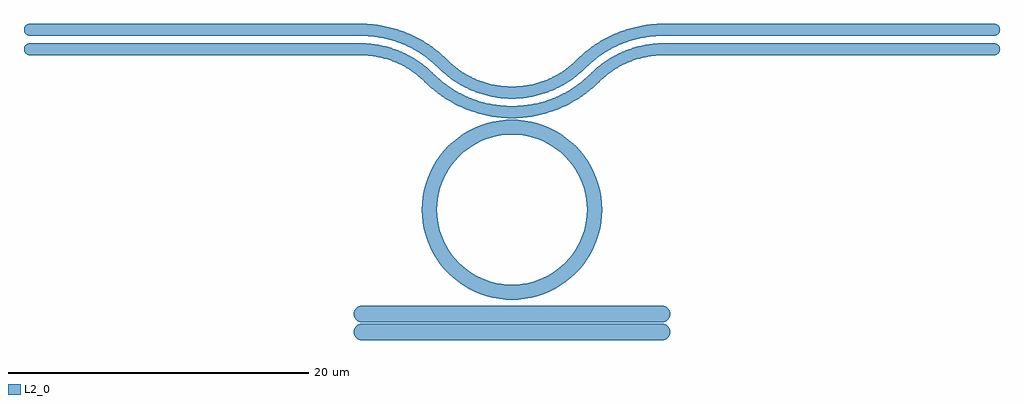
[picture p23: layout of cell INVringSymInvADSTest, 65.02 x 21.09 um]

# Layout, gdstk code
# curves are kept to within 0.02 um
import gdstk
lib = gdstk.Library(unit=1e-6, precision=1e-09)
def P(c, l, *ps):  # polygons
    for p in ps: c.add(gdstk.Polygon(p, *l))
L2_0 = (2, 0)

invringsyminvadstest = lib.new_cell('INVringSymInvADSTest')
P(invringsyminvadstest, L2_0, [(10,-26),(9.146,-25.939),(8.31,-25.757),(7.508,-25.458),(6.688,-25),(10.357,-24.987),(11.063,-24.886),(11.409,-24.797),(12.077,-24.548),(12.703,-24.206),(12.996,-24.003),(13.536,-23.536),(14.003,-22.996),(14.206,-22.703),(14.548,-22.077),(14.797,-21.409),(14.949,-20.712),(15,-20),(14.987,-19.643),(14.886,-18.937),(14.685,-18.253),(14.548,-17.923),(14.206,-17.297),(14.003,-17.004),(13.536,-16.464),(12.996,-15.997),(12.703,-15.794),(12.077,-15.452),(11.409,-15.203),(10.712,-15.051),(10,-15),(9.288,-15.051),(8.937,-15.114),(8.253,-15.315),(7.923,-15.452),(7.297,-15.794),(6.726,-16.221),(6.464,-16.464),(5.997,-17.004),(5.612,-17.604),(5.315,-18.253),(5.114,-18.937),(5.051,-19.288),(5,-20),(5.051,-20.712),(5.114,-21.063),(5.315,-21.747),(5.612,-22.396),(5.997,-22.996),(6.464,-23.536),(6.726,-23.779),(7.297,-24.206),(7.923,-24.548),(8.253,-24.685),(8.937,-24.886),(9.288,-24.949),(10,-25),(6.688,-25),(6.071,-24.534),(5.757,-24.243),(5.197,-23.596),(4.952,-23.244),(4.542,-22.492),(4.378,-22.097),(4.137,-21.275),(4.015,-20.428),(4,-20),(4.061,-19.146),(4.137,-18.725),(4.378,-17.903),(4.542,-17.508),(4.952,-16.756),(5.197,-16.404),(5.757,-15.757),(6.404,-15.197),(6.756,-14.952),(7.508,-14.542),(7.903,-14.378),(8.725,-14.137),(9.146,-14.061),(10,-14),(10.854,-14.061),(11.275,-14.137),(12.097,-14.378),(12.492,-14.542),(13.244,-14.952),(13.596,-15.197),(14.243,-15.757),(14.803,-16.404),(15.048,-16.756),(15.458,-17.508),(15.622,-17.903),(15.863,-18.725),(15.939,-19.146),(16,-20),(15.939,-20.854),(15.863,-21.275),(15.622,-22.097),(15.458,-22.492),(15.048,-23.244),(14.803,-23.596),(14.243,-24.243),(13.596,-24.803),(13.244,-25.048),(12.492,-25.458),(12.097,-25.622),(11.275,-25.863),(10.854,-25.939)],
  [(10,-13.9),(9.123,-13.853),(8.257,-13.713),(7.41,-13.48),(6.727,-13.219),(5.942,-12.826),(5.323,-12.436),(4.63,-11.897),(3.631,-10.994),(2.907,-10.511),(2.422,-10.263),(1.918,-10.059),(1.397,-9.901),(0.864,-9.79),(-0.112,-9.712),(-22.112,-9.712),(-22.112,-8.912),(-0.112,-8.912),(0.748,-8.965),(1.355,-9.069),(2.067,-9.265),(2.755,-9.535),(3.303,-9.816),(3.722,-10.074),(4.218,-10.439),(5.154,-11.293),(5.672,-11.702),(6.224,-12.064),(6.926,-12.431),(7.663,-12.721),(8.427,-12.931),(9.209,-13.058),(10,-13.1),(10.791,-13.058),(11.573,-12.931),(12.337,-12.721),(13.074,-12.431),(13.776,-12.064),(14.328,-11.702),(14.846,-11.293),(15.782,-10.439),(16.278,-10.074),(16.697,-9.816),(17.245,-9.535),(17.933,-9.265),(18.645,-9.069),(19.252,-8.965),(20.112,-8.912),(42.112,-8.912),(42.112,-9.712),(20.112,-9.712),(19.136,-9.79),(18.603,-9.901),(18.082,-10.059),(17.578,-10.263),(17.093,-10.511),(16.369,-10.994),(15.37,-11.897),(14.677,-12.436),(14.058,-12.826),(13.273,-13.219),(12.59,-13.48),(11.743,-13.713),(10.877,-13.853)],
  [(10,-12.6),(9.262,-12.56),(8.533,-12.442),(7.821,-12.247),(7.134,-11.976),(6.479,-11.634),(5.964,-11.297),(5.481,-10.915),(4.532,-10.05),(4.109,-9.733),(3.55,-9.381),(2.962,-9.08),(2.35,-8.833),(1.718,-8.641),(1.072,-8.507),(0.416,-8.43),(-0.112,-8.412),(-22.112,-8.412),(-22.112,-7.612),(-0.112,-7.612),(0.91,-7.676),(1.631,-7.799),(2.339,-7.986),(3.161,-8.293),(3.818,-8.615),(4.322,-8.913),(4.919,-9.336),(5.368,-9.711),(6.005,-10.31),(6.432,-10.648),(6.981,-11.001),(7.466,-11.249),(8.074,-11.488),(8.703,-11.661),(9.348,-11.765),(10,-11.8),(10.652,-11.765),(11.297,-11.661),(11.926,-11.488),(12.534,-11.249),(13.019,-11.001),(13.568,-10.648),(13.995,-10.31),(14.632,-9.711),(15.081,-9.336),(15.678,-8.913),(16.182,-8.615),(16.839,-8.293),(17.661,-7.986),(18.369,-7.799),(19.09,-7.676),(20.112,-7.612),(42.112,-7.612),(42.112,-8.412),(20.112,-8.412),(19.584,-8.43),(18.928,-8.507),(18.282,-8.641),(17.65,-8.833),(17.038,-9.08),(16.45,-9.381),(15.891,-9.733),(15.468,-10.05),(14.519,-10.915),(14.036,-11.297),(13.521,-11.634),(12.866,-11.976),(12.179,-12.247),(11.467,-12.442),(10.738,-12.56)],
  [(-22.112,-9.712),(-22.267,-9.68),(-22.394,-9.594),(-22.48,-9.467),(-22.512,-9.312),(-22.48,-9.156),(-22.394,-9.029),(-22.267,-8.943),(-22.112,-8.912)],
  [(42.112,-9.712),(42.112,-8.912),(42.267,-8.943),(42.394,-9.029),(42.48,-9.156),(42.512,-9.312),(42.48,-9.467),(42.394,-9.594),(42.267,-9.68)],
  [(42.112,-8.412),(42.112,-7.612),(42.267,-7.643),(42.394,-7.729),(42.48,-7.856),(42.512,-8.012),(42.48,-8.167),(42.394,-8.294),(42.267,-8.38)],
  [(-22.112,-8.412),(-22.267,-8.38),(-22.394,-8.294),(-22.48,-8.167),(-22.512,-8.012),(-22.48,-7.856),(-22.394,-7.729),(-22.267,-7.643),(-22.112,-7.612)],
  [(0,-28.7),(-0.214,-28.657),(-0.389,-28.539),(-0.507,-28.364),(-0.55,-28.15),(-0.507,-27.936),(-0.389,-27.761),(-0.214,-27.643),(0,-27.6),(20,-27.6),(20.214,-27.643),(20.389,-27.761),(20.507,-27.936),(20.55,-28.15),(20.507,-28.364),(20.389,-28.539),(20.214,-28.657),(20,-28.7)],
  [(0,-27.5),(-0.214,-27.457),(-0.389,-27.339),(-0.507,-27.164),(-0.55,-26.95),(-0.507,-26.736),(-0.389,-26.561),(-0.214,-26.443),(0,-26.4),(20,-26.4),(20.214,-26.443),(20.389,-26.561),(20.507,-26.736),(20.55,-26.95),(20.507,-27.164),(20.389,-27.339),(20.214,-27.457),(20,-27.5)])

lib.write_gds('INVringSymInvADSTest.gds')
